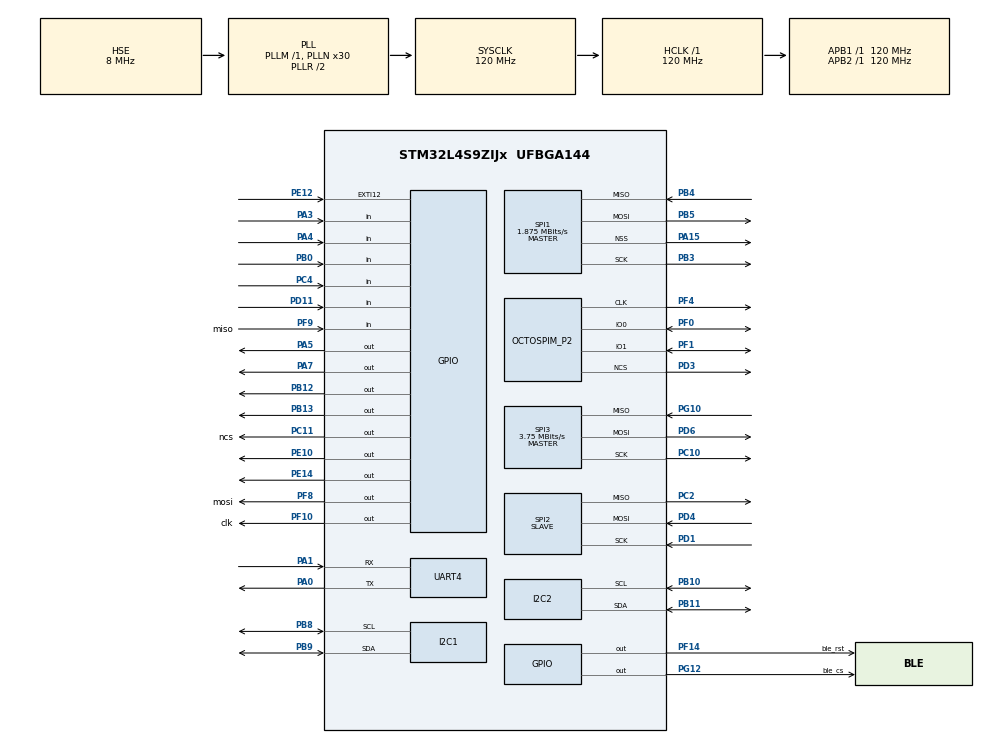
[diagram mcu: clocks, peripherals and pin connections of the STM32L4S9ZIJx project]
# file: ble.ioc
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DSIHOST.BTA_FlowControl=__NULL
DSIHOST.HorizontalBackPorch=252
DSIHOST.HorizontalLine=836
DSIHOST.HorizontalSyncActive=252
DSIHOST.LPCommandEnable=DSI_LP_COMMAND_ENABLE
DSIHOST.LPHorizontalBackPorchEnable=DSI_LP_HBP_ENABLE
DSIHOST.LPHorizontalFrontPorchEnable=DSI_LP_HFP_ENABLE
DSIHOST.LPLargestPacketSize=28
DSIHOST.LPVACTLargestPacketSize=80
DSIHOST.LPVerticalActiveEnable=DSI_LP_VACT_ENABLE
DSIHOST.LPVerticalBackPorchEnable=DSI_LP_VBP_ENABLE
DSIHOST.LPVerticalFrontPorchEnable=DSI_LP_VFP_ENABLE
DSIHOST.LPVerticalSyncActiveEnable=DSI_LP_VSYNC_ENABLE
DSIHOST.Mode=DSI_VID_MODE_NB_EVENTS
DSIHOST.PacketSize=80
DSIHOST.VerticalActive=80
DSIHOST.VerticalBackPorch=8
DSIHOST.VerticalFrontPorch=8
DSIHOST.VerticalSyncActive=8
DSIHOST_CKN.Mode=DSIHost_Video
DSIHOST_CKN.Signal=DSIHOST_CKN
DSIHOST_CKP.Mode=DSIHost_Video
DSIHOST_CKP.Signal=DSIHOST_CKP
DSIHOST_D0N.Mode=DSIHost_Video
DSIHOST_D0N.Signal=DSIHOST_D0N
DSIHOST_D0P.Mode=DSIHost_Video
DSIHOST_D0P.Signal=DSIHOST_D0P
DSIHOST_D1N.Mode=DSIHost_Video
DSIHOST_D1N.Signal=DSIHOST_D1N
DSIHOST_D1P.Mode=DSIHost_Video
DSIHOST_D1P.Signal=DSIHOST_D1P
I2C1.Timing=0x307075B1
I2C2.Timing=0x307075B1
LTDC.ActiveH=80
LTDC.ActiveW=80
LTDC.Alpha_L0=255
LTDC.Blue=255
LTDC.Blue_L0=255
LTDC.FBStartAdress_L0=(uint32_t *)image_80x80_rgb888
LTDC.Green=255
LTDC.Green_L0=255
LTDC.HBP=252
LTDC.HFP=252
LTDC.HSPolarity=LTDC_HSPOLARITY_AH
LTDC.HSync=252
LTDC.ImageHeight_L0=80
LTDC.ImageWidth_L0=80
LTDC.Layers=0
LTDC.PixelFormat_L0=LTDC_PIXEL_FORMAT_RGB888
LTDC.Red=255
LTDC.Red_L0=255
LTDC.VBP=8
LTDC.VSPolarity=LTDC_VSPOLARITY_AH
LTDC.VSync=8
LTDC.WindowX1_L0=80
LTDC.WindowY1_L0=80
Mcu.Family=STM32L4
Mcu.Name=STM32L4S9ZIJx
Mcu.Package=UFBGA144
NVIC.EXTI15_10_IRQn=true\:3\:0\:true\:false\:true\:true\:true\:true
NVIC.PriorityGroup=NVIC_PRIORITYGROUP_4
OCTOSPI2.ClockPrescaler=32
OCTOSPI2.MemoryType=HAL_OSPI_MEMTYPE_MACRONIX
PA0.Mode=Asynchronous
PA0.Signal=UART4_TX
PA1.Mode=Asynchronous
PA1.Signal=UART4_RX
PA15\ (JTDI).Mode=NSS_Signal_Hard_Output
PA15\ (JTDI).Signal=SPI1_NSS
PA3.Signal=GPIO_Input
PA4.Signal=GPIO_Input
PA5.Signal=GPIO_Output
PA7.Signal=GPIO_Output
PB0.Signal=GPIO_Input
PB10.Mode=I2C
PB10.Signal=I2C2_SCL
PB11.Mode=I2C
PB11.Signal=I2C2_SDA
PB12.Signal=GPIO_Output
PB13.Signal=GPIO_Output
PB3\ (JTDO/TRACESWO).Mode=Full_Duplex_Master
PB3\ (JTDO/TRACESWO).Signal=SPI1_SCK
PB4\ (NJTRST).Mode=Full_Duplex_Master
PB4\ (NJTRST).Signal=SPI1_MISO
PB5.Mode=Full_Duplex_Master
PB5.Signal=SPI1_MOSI
PB8.Mode=I2C
PB8.Signal=I2C1_SCL
PB9.Mode=I2C
PB9.Signal=I2C1_SDA
PC10.Mode=Full_Duplex_Master
PC10.Signal=SPI3_SCK
PC11.GPIO_Label=ncs
PC11.GPIO_Speed=GPIO_SPEED_FREQ_VERY_HIGH
PC11.PinState=GPIO_PIN_SET
PC11.Signal=GPIO_Output
PC2.Mode=Full_Duplex_Slave
PC2.Signal=SPI2_MISO
PC4.Signal=GPIO_Input
PD1.Mode=Full_Duplex_Slave
PD1.Signal=SPI2_SCK
PD11.Signal=GPIO_Input
PD3.Mode=OCTOSPI2_Port2_NCS
PD3.Signal=OCTOSPIM_P2_NCS
PD4.Mode=Full_Duplex_Slave
PD4.Signal=SPI2_MOSI
PD6.Mode=Full_Duplex_Master
PD6.Signal=SPI3_MOSI
PE10.Signal=GPIO_Output
PE12.GPIO_ModeDefaultEXTI=GPIO_MODE_IT_RISING
PE12.GPIO_PuPd=GPIO_PULLDOWN
PE12.Signal=GPXTI12
PE14.GPIO_ModeDefaultOutputPP=GPIO_MODE_OUTPUT_PP
PE14.GPIO_PuPd=GPIO_PULLUP
PE14.GPIO_Speed=GPIO_SPEED_FREQ_VERY_HIGH
PE14.PinState=GPIO_PIN_SET
PE14.Signal=GPIO_Output
PF0.Mode=OCTOSPI2_IOL_Port2L_10
PF0.Signal=OCTOSPIM_P2_IO0
PF1.Mode=OCTOSPI2_IOL_Port2L_10
PF1.Signal=OCTOSPIM_P2_IO1
PF10.GPIO_Label=clk
PF10.GPIO_Speed=GPIO_SPEED_FREQ_VERY_HIGH
PF10.Signal=GPIO_Output
PF14.GPIO_Label=ble_rst
PF14.GPIO_ModeDefaultOutputPP=GPIO_MODE_OUTPUT_PP
PF14.GPIO_PuPd=GPIO_NOPULL
PF14.GPIO_Speed=GPIO_SPEED_FREQ_VERY_HIGH
PF14.Signal=GPIO_Output
PF4.Mode=O2_P2_CLK
PF4.Signal=OCTOSPIM_P2_CLK
PF8.GPIO_Label=mosi
PF8.GPIO_Speed=GPIO_SPEED_FREQ_VERY_HIGH
PF8.Signal=GPIO_Output
PF9.GPIO_Label=miso
PF9.Signal=GPIO_Input
PG10.Mode=Full_Duplex_Master
PG10.Signal=SPI3_MISO
PG12.GPIO_Label=ble_cs
PG12.GPIO_Speed=GPIO_SPEED_FREQ_VERY_HIGH
PG12.PinState=GPIO_PIN_SET
PG12.Signal=GPIO_Output
PH0-OSC_IN\ (PH0).Mode=HSE-External-Oscillator
PH0-OSC_IN\ (PH0).Signal=RCC_OSC_IN
PH1-OSC_OUT\ (PH1).Mode=HSE-External-Oscillator
PH1-OSC_OUT\ (PH1).Signal=RCC_OSC_OUT
ProjectManager.HeapSize=0x200
ProjectManager.StackSize=0x400
ProjectManager.TargetToolchain=STM32CubeIDE
RCC.ADCFreq_Value=32000000
RCC.AHBFreq_Value=120000000
RCC.APB1Freq_Value=120000000
RCC.APB1TimFreq_Value=120000000
RCC.APB2Freq_Value=120000000
RCC.APB2TimFreq_Value=120000000
RCC.CortexFreq_Value=120000000
RCC.DSITX_Div=2
RCC.HCLKFreq_Value=120000000
RCC.HSE_VALUE=8000000
RCC.HSI48_VALUE=48000000
RCC.HSI_VALUE=16000000
RCC.LSE_VALUE=32768
RCC.MSI_VALUE=4000000
RCC.PLLDSINDIV=50
RCC.PLLDSIODF=DSI_PLL_OUT_DIV2
RCC.PLLN=30
RCC.PLLSourceVirtual=RCC_PLLSOURCE_HSE
RCC.PREFETCH_ENABLE=1
RCC.SYSCLKFreq_VALUE=120000000
RCC.SYSCLKSource=RCC_SYSCLKSOURCE_PLLCLK
RCC.USBFreq_Value=32000000
RCC.VCOOutputFreq_Value=240000000
SPI1.BaudRatePrescaler=SPI_BAUDRATEPRESCALER_64
SPI1.CLKPolarity=SPI_POLARITY_LOW
SPI1.CalculateBaudRate=1.875 MBits/s
SPI1.DataSize=SPI_DATASIZE_8BIT
SPI1.Direction=SPI_DIRECTION_2LINES
SPI1.Mode=SPI_MODE_MASTER
SPI1.VirtualNSS=VM_NSSHARD
SPI1.VirtualType=VM_MASTER
SPI2.DataSize=SPI_DATASIZE_8BIT
SPI2.Direction=SPI_DIRECTION_2LINES
SPI2.Mode=SPI_MODE_SLAVE
SPI2.VirtualType=VM_SLAVE
SPI3.BaudRatePrescaler=SPI_BAUDRATEPRESCALER_32
SPI3.CalculateBaudRate=3.75 MBits/s
SPI3.DataSize=SPI_DATASIZE_8BIT
SPI3.Direction=SPI_DIRECTION_2LINES
SPI3.Mode=SPI_MODE_MASTER
SPI3.VirtualType=VM_MASTER
VP_LTDC_DSIMode.Mode=RGB888
VP_OCTOSPI2_VS_dual.Mode=single_mode
board=custom

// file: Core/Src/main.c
/* USER CODE BEGIN Header */
/**
 ******************************************************************************
 * @file           : main.c
 * @brief          : Main program body
 ******************************************************************************
 * @attention
 *
 * Copyright (c) 2023 STMicroelectronics.
 * All rights reserved.
 *
 * This software is licensed under terms that can be found in the LICENSE file
 * in the root directory of this software component.
 * If no LICENSE file comes with this software, it is provided AS-IS.
 *
 ******************************************************************************
 */
/* USER CODE END Header */
#include "main.h"

DSI_HandleTypeDef hdsi;

I2C_HandleTypeDef hi2c1;
I2C_HandleTypeDef hi2c2;

LTDC_HandleTypeDef hltdc;

OSPI_HandleTypeDef hospi2;

SPI_HandleTypeDef hspi1;
SPI_HandleTypeDef hspi2;
SPI_HandleTypeDef hspi3;

UART_HandleTypeDef huart4;

/* USER CODE BEGIN PV */
#define HARDWARE_VER "1.0.0"
void QSPI_WriteByte(uint8_t data);
uint8_t QSPI_ReadByte(void);
#define QSPI_CLK_PIN       GPIO_PIN_10
#define QSPI_CLK_PORT      GPIOF

#define QSPI_CS_PIN        GPIO_PIN_11
#define QSPI_CS_PORT       GPIOC

#define QSPI_MISO_PIN      GPIO_PIN_9
#define QSPI_MISO_PORT     GPIOF

#define QSPI_MOSI_PIN      GPIO_PIN_8
#define QSPI_MOSI_PORT     GPIOF

uint8_t BOARD_NUMBER = 1;
uint8_t spi3_buf[2] = {0};
uint32_t frame_rate=1000; //delay time (ms)
uint8_t frame_buf_tmp[6400]={0};
uint8_t frame_buf_0[6400]={0};
uint8_t frame_buf_1[6400]={0};
uint8_t play_mode=0;  //0=Static display, 1=Dynamic display
uint8_t static_flag=0;  //0=buffer_0, 1=buffer_1
uint8_t image_80x80_rgb888[19200];

#define BUFFER_SIZE  8192
uint8_t aRxBuffer[BUFFER_SIZE] = { 0 };

/* USER CODE END PV */

void SystemClock_Config(void);
static void MX_GPIO_Init(void);
static void MX_I2C1_Init(void);
static void MX_I2C2_Init(void);
static void MX_OCTOSPI2_Init(void);
static void MX_SPI1_Init(void);
static void MX_SPI2_Init(void);
static void MX_UART4_Init(void);
static void MX_DSIHOST_DSI_Init(void);
static void MX_LTDC_Init(void);
static void MX_SPI3_Init(void);
/* USER CODE BEGIN PFP */
static void mipi_config(void);
void delay_us(int time);
void Wrap(uint8_t *str1, int16_t count);
/* USER CODE END PFP */

int main(void)
{

  /* MCU Configuration--------------------------------------------------------*/

  /* Reset of all peripherals, Initializes the Flash interface and the Systick. */
  HAL_Init();

  /* Configure the system clock */
  SystemClock_Config();

  /* Initialize all configured peripherals */
  MX_GPIO_Init();
  MX_I2C1_Init();
  MX_I2C2_Init();
  MX_OCTOSPI2_Init();
  MX_SPI1_Init();
  MX_SPI2_Init();
  MX_UART4_Init();
  MX_DSIHOST_DSI_Init();
  MX_LTDC_Init();
  MX_SPI3_Init();
  /* USER CODE BEGIN 2 */
  mipi_config();
  HAL_UART_Transmit(&huart4, "ble start", 9, 1000);
  /* USER CODE END 2 */

  /* Infinite loop */
  /* USER CODE BEGIN WHILE */
  int frame_buf_count = 0;
  	  HAL_GPIO_WritePin(GPIOF, GPIO_PIN_14, GPIO_PIN_SET);
  	  HAL_GPIO_WritePin(GPIOF, GPIO_PIN_14, GPIO_PIN_RESET);
  	  HAL_Delay(10);
  	  HAL_GPIO_WritePin(GPIOF, GPIO_PIN_14, GPIO_PIN_SET);
  	__HAL_SPI_ENABLE(&hspi1);
	__HAL_SPI_ENABLE(&hspi3);

	uint8_t  BLE_status[20], BAUD_1[20], BAUD_2[20], NAME_1[20], NAME_2[20], led[20], TXTX[20];
	sprintf(BAUD_1,"%c%c%c%c%s",0x10,0x00,0x0A,0x8C,"AT+BAUDRATE="); //Bit 7 of payload size is also set
	sprintf(BAUD_2,"%c%c%c%c%s",0x10,0x00,0x0A,0x06,"115200");
	sprintf(NAME_1,"%c%c%c%c%s",0x10,0x00,0x0A,0x8E,"AT+GAPDEVNAME="); //Bit 7 of payload size is also set
	sprintf(NAME_2,"%c%c%c%c%s",0x10,0x00,0x0A,0x08,"LED Demo");
	sprintf(led,"%c%c%c%c%s",0x10,0x00,0x0A,0x0E,"AT+HWMODELED=0"); //Default is 1
	//sprintf(TXTX,"%c%c%c%c%s",0x10,0x01,0x0A,0x0E,"aaaaaaaaaaaaaa"); //TX
	sprintf(TXTX,"%c%c%c%c%s",0x10,0x01,0x0A,0x03,"123"); //TX

	HAL_Delay(3000);

	while (1) {
    /* USER CODE END WHILE */

    /* USER CODE BEGIN 3 */
		HAL_Delay(5);
		Wrap(&BAUD_1, sizeof BAUD_1);
		HAL_Delay(5);
		Wrap(&BAUD_2, sizeof BAUD_2);
		HAL_Delay(5);
		Wrap(&NAME_1, sizeof NAME_1);
		HAL_Delay(5);
		Wrap(&NAME_2, sizeof NAME_2);
		HAL_Delay(5);
		Wrap(&led, sizeof led);

		while(1)
		{
			HAL_Delay(1000);
			WriteBLE(&TXTX, sizeof TXTX);
			HAL_Delay(1000);
			ReadBLE();
		}
	}
  /* USER CODE END 3 */
}

void SystemClock_Config(void)
{
  RCC_OscInitTypeDef RCC_OscInitStruct = {0};
  RCC_ClkInitTypeDef RCC_ClkInitStruct = {0};

  /** Configure the main internal regulator output voltage
  */
  if (HAL_PWREx_ControlVoltageScaling(PWR_REGULATOR_VOLTAGE_SCALE1_BOOST) != HAL_OK)
  {
    Error_Handler();
  }

  /** Initializes the RCC Oscillators according to the specified parameters
  * in the RCC_OscInitTypeDef structure.
  */
  RCC_OscInitStruct.OscillatorType = RCC_OSCILLATORTYPE_HSE;
  RCC_OscInitStruct.HSEState = RCC_HSE_ON;
  RCC_OscInitStruct.PLL.PLLState = RCC_PLL_ON;
  RCC_OscInitStruct.PLL.PLLSource = RCC_PLLSOURCE_HSE;
  RCC_OscInitStruct.PLL.PLLM = 1;
  RCC_OscInitStruct.PLL.PLLN = 30;
  RCC_OscInitStruct.PLL.PLLP = RCC_PLLP_DIV2;
  RCC_OscInitStruct.PLL.PLLQ = RCC_PLLQ_DIV2;
  RCC_OscInitStruct.PLL.PLLR = RCC_PLLR_DIV2;
  if (HAL_RCC_OscConfig(&RCC_OscInitStruct) != HAL_OK)
  {
    Error_Handler();
  }

  /** Initializes the CPU, AHB and APB buses clocks
  */
  RCC_ClkInitStruct.ClockType = RCC_CLOCKTYPE_HCLK|RCC_CLOCKTYPE_SYSCLK
                              |RCC_CLOCKTYPE_PCLK1|RCC_CLOCKTYPE_PCLK2;
  RCC_ClkInitStruct.SYSCLKSource = RCC_SYSCLKSOURCE_PLLCLK;
  RCC_ClkInitStruct.AHBCLKDivider = RCC_SYSCLK_DIV1;
  RCC_ClkInitStruct.APB1CLKDivider = RCC_HCLK_DIV1;
  RCC_ClkInitStruct.APB2CLKDivider = RCC_HCLK_DIV1;

  if (HAL_RCC_ClockConfig(&RCC_ClkInitStruct, FLASH_LATENCY_5) != HAL_OK)
  {
    Error_Handler();
  }
}

static void MX_DSIHOST_DSI_Init(void)
{

  DSI_PLLInitTypeDef PLLInit = {0};
  DSI_HOST_TimeoutTypeDef HostTimeouts = {0};
  DSI_PHY_TimerTypeDef PhyTimings = {0};
  DSI_VidCfgTypeDef VidCfg = {0};

  hdsi.Instance = DSI;
  hdsi.Init.AutomaticClockLaneControl = DSI_AUTO_CLK_LANE_CTRL_DISABLE;
  hdsi.Init.TXEscapeCkdiv = 2;
  hdsi.Init.NumberOfLanes = DSI_ONE_DATA_LANE;
  PLLInit.PLLNDIV = 50;
  PLLInit.PLLIDF = DSI_PLL_IN_DIV1;
  PLLInit.PLLODF = DSI_PLL_OUT_DIV2;
  if (HAL_DSI_Init(&hdsi, &PLLInit) != HAL_OK)
  {
    Error_Handler();
  }
  HostTimeouts.TimeoutCkdiv = 1;
  HostTimeouts.HighSpeedTransmissionTimeout = 0;
  HostTimeouts.LowPowerReceptionTimeout = 0;
  HostTimeouts.HighSpeedReadTimeout = 0;
  HostTimeouts.LowPowerReadTimeout = 0;
  HostTimeouts.HighSpeedWriteTimeout = 0;
  HostTimeouts.HighSpeedWritePrespMode = DSI_HS_PM_DISABLE;
  HostTimeouts.LowPowerWriteTimeout = 0;
  HostTimeouts.BTATimeout = 0;
  if (HAL_DSI_ConfigHostTimeouts(&hdsi, &HostTimeouts) != HAL_OK)
  {
    Error_Handler();
  }
  PhyTimings.ClockLaneHS2LPTime = 19;
  PhyTimings.ClockLaneLP2HSTime = 15;
  PhyTimings.DataLaneHS2LPTime = 9;
  PhyTimings.DataLaneLP2HSTime = 10;
  PhyTimings.DataLaneMaxReadTime = 0;
  PhyTimings.StopWaitTime = 0;
  if (HAL_DSI_ConfigPhyTimer(&hdsi, &PhyTimings) != HAL_OK)
  {
    Error_Handler();
  }
  if (HAL_DSI_SetLowPowerRXFilter(&hdsi, 10000) != HAL_OK)
  {
    Error_Handler();
  }
  if (HAL_DSI_ConfigErrorMonitor(&hdsi, HAL_DSI_ERROR_NONE) != HAL_OK)
  {
    Error_Handler();
  }
  VidCfg.VirtualChannelID = 0;
  VidCfg.ColorCoding = DSI_RGB888;
  VidCfg.LooselyPacked = DSI_LOOSELY_PACKED_DISABLE;
  VidCfg.Mode = DSI_VID_MODE_NB_EVENTS;
  VidCfg.PacketSize = 80;
  VidCfg.NumberOfChunks = 1;
  VidCfg.NullPacketSize = 0;
  VidCfg.HSPolarity = DSI_HSYNC_ACTIVE_HIGH;
  VidCfg.VSPolarity = DSI_VSYNC_ACTIVE_HIGH;
  VidCfg.DEPolarity = DSI_DATA_ENABLE_ACTIVE_HIGH;
  VidCfg.HorizontalSyncActive = 252;
  VidCfg.HorizontalBackPorch = 252;
  VidCfg.HorizontalLine = 836;
  VidCfg.VerticalSyncActive = 8;
  VidCfg.VerticalBackPorch = 8;
  VidCfg.VerticalFrontPorch = 8;
  VidCfg.VerticalActive = 80;
  VidCfg.LPCommandEnable = DSI_LP_COMMAND_ENABLE;
  VidCfg.LPLargestPacketSize = 28;
  VidCfg.LPVACTLargestPacketSize = 80;
  VidCfg.LPHorizontalFrontPorchEnable = DSI_LP_HFP_ENABLE;
  VidCfg.LPHorizontalBackPorchEnable = DSI_LP_HBP_ENABLE;
  VidCfg.LPVerticalActiveEnable = DSI_LP_VACT_ENABLE;
  VidCfg.LPVerticalFrontPorchEnable = DSI_LP_VFP_ENABLE;
  VidCfg.LPVerticalBackPorchEnable = DSI_LP_VBP_ENABLE;
  VidCfg.LPVerticalSyncActiveEnable = DSI_LP_VSYNC_ENABLE;
  VidCfg.FrameBTAAcknowledgeEnable = DSI_FBTAA_DISABLE;
  if (HAL_DSI_ConfigVideoMode(&hdsi, &VidCfg) != HAL_OK)
  {
    Error_Handler();
  }
  if (HAL_DSI_SetGenericVCID(&hdsi, 0) != HAL_OK)
  {
    Error_Handler();
  }

}

static void MX_I2C1_Init(void)
{

  hi2c1.Instance = I2C1;
  hi2c1.Init.Timing = 0x307075B1;
  hi2c1.Init.OwnAddress1 = 0;
  hi2c1.Init.AddressingMode = I2C_ADDRESSINGMODE_7BIT;
  hi2c1.Init.DualAddressMode = I2C_DUALADDRESS_DISABLE;
  hi2c1.Init.OwnAddress2 = 0;
  hi2c1.Init.OwnAddress2Masks = I2C_OA2_NOMASK;
  hi2c1.Init.GeneralCallMode = I2C_GENERALCALL_DISABLE;
  hi2c1.Init.NoStretchMode = I2C_NOSTRETCH_DISABLE;
  if (HAL_I2C_Init(&hi2c1) != HAL_OK)
  {
    Error_Handler();
  }

  /** Configure Analogue filter
  */
  if (HAL_I2CEx_ConfigAnalogFilter(&hi2c1, I2C_ANALOGFILTER_ENABLE) != HAL_OK)
  {
    Error_Handler();
  }

  /** Configure Digital filter
  */
  if (HAL_I2CEx_ConfigDigitalFilter(&hi2c1, 0) != HAL_OK)
  {
    Error_Handler();
  }

}

static void MX_I2C2_Init(void)
{

  hi2c2.Instance = I2C2;
  hi2c2.Init.Timing = 0x307075B1;
  hi2c2.Init.OwnAddress1 = 0;
  hi2c2.Init.AddressingMode = I2C_ADDRESSINGMODE_7BIT;
  hi2c2.Init.DualAddressMode = I2C_DUALADDRESS_DISABLE;
  hi2c2.Init.OwnAddress2 = 0;
  hi2c2.Init.OwnAddress2Masks = I2C_OA2_NOMASK;
  hi2c2.Init.GeneralCallMode = I2C_GENERALCALL_DISABLE;
  hi2c2.Init.NoStretchMode = I2C_NOSTRETCH_DISABLE;
  if (HAL_I2C_Init(&hi2c2) != HAL_OK)
  {
    Error_Handler();
  }

  /** Configure Analogue filter
  */
  if (HAL_I2CEx_ConfigAnalogFilter(&hi2c2, I2C_ANALOGFILTER_ENABLE) != HAL_OK)
  {
    Error_Handler();
  }

  /** Configure Digital filter
  */
  if (HAL_I2CEx_ConfigDigitalFilter(&hi2c2, 0) != HAL_OK)
  {
    Error_Handler();
  }

}

static void MX_LTDC_Init(void)
{

  LTDC_LayerCfgTypeDef pLayerCfg = {0};

  hltdc.Instance = LTDC;
  hltdc.Init.HSPolarity = LTDC_HSPOLARITY_AH;
  hltdc.Init.VSPolarity = LTDC_VSPOLARITY_AH;
  hltdc.Init.DEPolarity = LTDC_DEPOLARITY_AL;
  hltdc.Init.PCPolarity = LTDC_PCPOLARITY_IPC;
  hltdc.Init.HorizontalSync = 251;
  hltdc.Init.VerticalSync = 7;
  hltdc.Init.AccumulatedHBP = 503;
  hltdc.Init.AccumulatedVBP = 15;
  hltdc.Init.AccumulatedActiveW = 583;
  hltdc.Init.AccumulatedActiveH = 95;
  hltdc.Init.TotalWidth = 835;
  hltdc.Init.TotalHeigh = 97;
  hltdc.Init.Backcolor.Blue = 255;
  hltdc.Init.Backcolor.Green = 255;
  hltdc.Init.Backcolor.Red = 255;
  if (HAL_LTDC_Init(&hltdc) != HAL_OK)
  {
    Error_Handler();
  }
  pLayerCfg.WindowX0 = 0;
  pLayerCfg.WindowX1 = 80;
  pLayerCfg.WindowY0 = 0;
  pLayerCfg.WindowY1 = 80;
  pLayerCfg.PixelFormat = LTDC_PIXEL_FORMAT_RGB888;
  pLayerCfg.Alpha = 255;
  pLayerCfg.Alpha0 = 0;
  pLayerCfg.BlendingFactor1 = LTDC_BLENDING_FACTOR1_CA;
  pLayerCfg.BlendingFactor2 = LTDC_BLENDING_FACTOR2_CA;
  pLayerCfg.FBStartAdress = (uint32_t *)image_80x80_rgb888;
  pLayerCfg.ImageWidth = 80;
  pLayerCfg.ImageHeight = 80;
  pLayerCfg.Backcolor.Blue = 255;
  pLayerCfg.Backcolor.Green = 255;
  pLayerCfg.Backcolor.Red = 255;
  if (HAL_LTDC_ConfigLayer(&hltdc, &pLayerCfg, 0) != HAL_OK)
  {
    Error_Handler();
  }
  /* USER CODE BEGIN LTDC_Init 2 */
  //(uint32_t *)image_80x80_rgb888;
  /* USER CODE END LTDC_Init 2 */

}

static void MX_OCTOSPI2_Init(void)
{

  OSPIM_CfgTypeDef OSPIM_Cfg_Struct = {0};

  /* OCTOSPI2 parameter configuration*/
  hospi2.Instance = OCTOSPI2;
  hospi2.Init.FifoThreshold = 1;
  hospi2.Init.DualQuad = HAL_OSPI_DUALQUAD_DISABLE;
  hospi2.Init.MemoryType = HAL_OSPI_MEMTYPE_MACRONIX;
  hospi2.Init.DeviceSize = 32;
  hospi2.Init.ChipSelectHighTime = 1;
  hospi2.Init.FreeRunningClock = HAL_OSPI_FREERUNCLK_DISABLE;
  hospi2.Init.ClockMode = HAL_OSPI_CLOCK_MODE_0;
  hospi2.Init.ClockPrescaler = 32;
  hospi2.Init.SampleShifting = HAL_OSPI_SAMPLE_SHIFTING_NONE;
  hospi2.Init.DelayHoldQuarterCycle = HAL_OSPI_DHQC_DISABLE;
  hospi2.Init.ChipSelectBoundary = 0;
  hospi2.Init.DelayBlockBypass = HAL_OSPI_DELAY_BLOCK_BYPASSED;
  if (HAL_OSPI_Init(&hospi2) != HAL_OK)
  {
    Error_Handler();
  }
  OSPIM_Cfg_Struct.ClkPort = 2;
  OSPIM_Cfg_Struct.NCSPort = 2;
  OSPIM_Cfg_Struct.IOLowPort = HAL_OSPIM_IOPORT_2_LOW;
  if (HAL_OSPIM_Config(&hospi2, &OSPIM_Cfg_Struct, HAL_OSPI_TIMEOUT_DEFAULT_VALUE) != HAL_OK)
  {
    Error_Handler();
  }

}

static void MX_SPI1_Init(void)
{

  /* SPI1 parameter configuration*/
  hspi1.Instance = SPI1;
  hspi1.Init.Mode = SPI_MODE_MASTER;
  hspi1.Init.Direction = SPI_DIRECTION_2LINES;
  hspi1.Init.DataSize = SPI_DATASIZE_8BIT;
  hspi1.Init.CLKPolarity = SPI_POLARITY_LOW;
  hspi1.Init.CLKPhase = SPI_PHASE_1EDGE;
  hspi1.Init.NSS = SPI_NSS_HARD_OUTPUT;
  hspi1.Init.BaudRatePrescaler = SPI_BAUDRATEPRESCALER_64;
  hspi1.Init.FirstBit = SPI_FIRSTBIT_MSB;
  hspi1.Init.TIMode = SPI_TIMODE_DISABLE;
  hspi1.Init.CRCCalculation = SPI_CRCCALCULATION_DISABLE;
  hspi1.Init.CRCPolynomial = 7;
  hspi1.Init.CRCLength = SPI_CRC_LENGTH_DATASIZE;
  hspi1.Init.NSSPMode = SPI_NSS_PULSE_ENABLE;
  if (HAL_SPI_Init(&hspi1) != HAL_OK)
  {
    Error_Handler();
  }

}

static void MX_SPI2_Init(void)
{

  /* SPI2 parameter configuration*/
  hspi2.Instance = SPI2;
  hspi2.Init.Mode = SPI_MODE_SLAVE;
  hspi2.Init.Direction = SPI_DIRECTION_2LINES;
  hspi2.Init.DataSize = SPI_DATASIZE_8BIT;
  hspi2.Init.CLKPolarity = SPI_POLARITY_LOW;
  hspi2.Init.CLKPhase = SPI_PHASE_1EDGE;
  hspi2.Init.NSS = SPI_NSS_SOFT;
  hspi2.Init.FirstBit = SPI_FIRSTBIT_MSB;
  hspi2.Init.TIMode = SPI_TIMODE_DISABLE;
  hspi2.Init.CRCCalculation = SPI_CRCCALCULATION_DISABLE;
  hspi2.Init.CRCPolynomial = 7;
  hspi2.Init.CRCLength = SPI_CRC_LENGTH_DATASIZE;
  hspi2.Init.NSSPMode = SPI_NSS_PULSE_DISABLE;
  if (HAL_SPI_Init(&hspi2) != HAL_OK)
  {
    Error_Handler();
  }

}

static void MX_SPI3_Init(void)
{

  /* SPI3 parameter configuration*/
  hspi3.Instance = SPI3;
  hspi3.Init.Mode = SPI_MODE_MASTER;
  hspi3.Init.Direction = SPI_DIRECTION_2LINES;
  hspi3.Init.DataSize = SPI_DATASIZE_8BIT;
  hspi3.Init.CLKPolarity = SPI_POLARITY_LOW;
  hspi3.Init.CLKPhase = SPI_PHASE_1EDGE;
  hspi3.Init.NSS = SPI_NSS_SOFT;
  hspi3.Init.BaudRatePrescaler = SPI_BAUDRATEPRESCALER_32;
  hspi3.Init.FirstBit = SPI_FIRSTBIT_MSB;
  hspi3.Init.TIMode = SPI_TIMODE_DISABLE;
  hspi3.Init.CRCCalculation = SPI_CRCCALCULATION_DISABLE;
  hspi3.Init.CRCPolynomial = 7;
  hspi3.Init.CRCLength = SPI_CRC_LENGTH_DATASIZE;
  hspi3.Init.NSSPMode = SPI_NSS_PULSE_ENABLE;
  if (HAL_SPI_Init(&hspi3) != HAL_OK)
  {
    Error_Handler();
  }

}

static void MX_UART4_Init(void)
{

  huart4.Instance = UART4;
  huart4.Init.BaudRate = 115200;
  huart4.Init.WordLength = UART_WORDLENGTH_8B;
  huart4.Init.StopBits = UART_STOPBITS_1;
  huart4.Init.Parity = UART_PARITY_NONE;
  huart4.Init.Mode = UART_MODE_TX_RX;
  huart4.Init.HwFlowCtl = UART_HWCONTROL_NONE;
  huart4.Init.OverSampling = UART_OVERSAMPLING_16;
  huart4.Init.OneBitSampling = UART_ONE_BIT_SAMPLE_DISABLE;
  huart4.Init.ClockPrescaler = UART_PRESCALER_DIV1;
  huart4.AdvancedInit.AdvFeatureInit = UART_ADVFEATURE_NO_INIT;
  if (HAL_UART_Init(&huart4) != HAL_OK)
  {
    Error_Handler();
  }
  if (HAL_UARTEx_SetTxFifoThreshold(&huart4, UART_TXFIFO_THRESHOLD_1_8) != HAL_OK)
  {
    Error_Handler();
  }
  if (HAL_UARTEx_SetRxFifoThreshold(&huart4, UART_RXFIFO_THRESHOLD_1_8) != HAL_OK)
  {
    Error_Handler();
  }
  if (HAL_UARTEx_DisableFifoMode(&huart4) != HAL_OK)
  {
    Error_Handler();
  }

}

static void MX_GPIO_Init(void)
{
  GPIO_InitTypeDef GPIO_InitStruct = {0};

  /* GPIO Ports Clock Enable */
  __HAL_RCC_GPIOB_CLK_ENABLE();
  __HAL_RCC_GPIOD_CLK_ENABLE();
  __HAL_RCC_GPIOC_CLK_ENABLE();
  __HAL_RCC_GPIOA_CLK_ENABLE();
  __HAL_RCC_GPIOG_CLK_ENABLE();
  HAL_PWREx_EnableVddIO2();
  __HAL_RCC_GPIOF_CLK_ENABLE();
  __HAL_RCC_GPIOH_CLK_ENABLE();
  __HAL_RCC_GPIOE_CLK_ENABLE();

  /*Configure GPIO pin Output Level */
  HAL_GPIO_WritePin(ncs_GPIO_Port, ncs_Pin, GPIO_PIN_SET);

  /*Configure GPIO pin Output Level */
  HAL_GPIO_WritePin(ble_cs_GPIO_Port, ble_cs_Pin, GPIO_PIN_SET);

  /*Configure GPIO pin Output Level */
  HAL_GPIO_WritePin(GPIOF, mosi_Pin|clk_Pin|ble_rst_Pin, GPIO_PIN_RESET);

  /*Configure GPIO pin Output Level */
  HAL_GPIO_WritePin(GPIOA, GPIO_PIN_5|GPIO_PIN_7, GPIO_PIN_RESET);

  /*Configure GPIO pin Output Level */
  HAL_GPIO_WritePin(GPIOE, GPIO_PIN_10, GPIO_PIN_RESET);

  /*Configure GPIO pin Output Level */
  HAL_GPIO_WritePin(GPIOB, GPIO_PIN_12|GPIO_PIN_13, GPIO_PIN_RESET);

  /*Configure GPIO pin Output Level */
  HAL_GPIO_WritePin(GPIOE, GPIO_PIN_14, GPIO_PIN_SET);

  /*Configure GPIO pin : ncs_Pin */
  GPIO_InitStruct.Pin = ncs_Pin;
  GPIO_InitStruct.Mode = GPIO_MODE_OUTPUT_PP;
  GPIO_InitStruct.Pull = GPIO_NOPULL;
  GPIO_InitStruct.Speed = GPIO_SPEED_FREQ_VERY_HIGH;
  HAL_GPIO_Init(ncs_GPIO_Port, &GPIO_InitStruct);

  /*Configure GPIO pin : ble_cs_Pin */
  GPIO_InitStruct.Pin = ble_cs_Pin;
  GPIO_InitStruct.Mode = GPIO_MODE_OUTPUT_PP;
  GPIO_InitStruct.Pull = GPIO_NOPULL;
  GPIO_InitStruct.Speed = GPIO_SPEED_FREQ_VERY_HIGH;
  HAL_GPIO_Init(ble_cs_GPIO_Port, &GPIO_InitStruct);

  /*Configure GPIO pins : mosi_Pin clk_Pin ble_rst_Pin */
  GPIO_InitStruct.Pin = mosi_Pin|clk_Pin|ble_rst_Pin;
  GPIO_InitStruct.Mode = GPIO_MODE_OUTPUT_PP;
  GPIO_InitStruct.Pull = GPIO_NOPULL;
  GPIO_InitStruct.Speed = GPIO_SPEED_FREQ_VERY_HIGH;
  HAL_GPIO_Init(GPIOF, &GPIO_InitStruct);

  /*Configure GPIO pin : miso_Pin */
  GPIO_InitStruct.Pin = miso_Pin;
  GPIO_InitStruct.Mode = GPIO_MODE_INPUT;
  GPIO_InitStruct.Pull = GPIO_NOPULL;
  HAL_GPIO_Init(miso_GPIO_Port, &GPIO_InitStruct);

  /*Configure GPIO pin : PD11 */
  GPIO_InitStruct.Pin = GPIO_PIN_11;
  GPIO_InitStruct.Mode = GPIO_MODE_INPUT;
  GPIO_InitStruct.Pull = GPIO_NOPULL;
  HAL_GPIO_Init(GPIOD, &GPIO_InitStruct);

  /*Configure GPIO pins : PA4 PA3 */
  GPIO_InitStruct.Pin = GPIO_PIN_4|GPIO_PIN_3;
  GPIO_InitStruct.Mode = GPIO_MODE_INPUT;
  GPIO_InitStruct.Pull = GPIO_NOPULL;
  HAL_GPIO_Init(GPIOA, &GPIO_InitStruct);

  /*Configure GPIO pins : PA5 PA7 */
  GPIO_InitStruct.Pin = GPIO_PIN_5|GPIO_PIN_7;
  GPIO_InitStruct.Mode = GPIO_MODE_OUTPUT_PP;
  GPIO_InitStruct.Pull = GPIO_NOPULL;
  GPIO_InitStruct.Speed = GPIO_SPEED_FREQ_LOW;
  HAL_GPIO_Init(GPIOA, &GPIO_InitStruct);

  /*Configure GPIO pin : PC4 */
  GPIO_InitStruct.Pin = GPIO_PIN_4;
  GPIO_InitStruct.Mode = GPIO_MODE_INPUT;
  GPIO_InitStruct.Pull = GPIO_NOPULL;
  HAL_GPIO_Init(GPIOC, &GPIO_InitStruct);

  /*Configure GPIO pin : PE10 */
  GPIO_InitStruct.Pin = GPIO_PIN_10;
  GPIO_InitStruct.Mode = GPIO_MODE_OUTPUT_PP;
  GPIO_InitStruct.Pull = GPIO_NOPULL;
  GPIO_InitStruct.Speed = GPIO_SPEED_FREQ_LOW;
  HAL_GPIO_Init(GPIOE, &GPIO_InitStruct);

  /*Configure GPIO pins : PB12 PB13 */
  GPIO_InitStruct.Pin = GPIO_PIN_12|GPIO_PIN_13;
  GPIO_InitStruct.Mode = GPIO_MODE_OUTPUT_PP;
  GPIO_InitStruct.Pull = GPIO_NOPULL;
  GPIO_InitStruct.Speed = GPIO_SPEED_FREQ_LOW;
  HAL_GPIO_Init(GPIOB, &GPIO_InitStruct);

  /*Configure GPIO pin : PB0 */
  GPIO_InitStruct.Pin = GPIO_PIN_0;
  GPIO_InitStruct.Mode = GPIO_MODE_INPUT;
  GPIO_InitStruct.Pull = GPIO_NOPULL;
  HAL_GPIO_Init(GPIOB, &GPIO_InitStruct);

  /*Configure GPIO pin : PE12 */
  GPIO_InitStruct.Pin = GPIO_PIN_12;
  GPIO_InitStruct.Mode = GPIO_MODE_IT_RISING;
  GPIO_InitStruct.Pull = GPIO_PULLDOWN;
  HAL_GPIO_Init(GPIOE, &GPIO_InitStruct);

  /*Configure GPIO pin : PE14 */
  GPIO_InitStruct.Pin = GPIO_PIN_14;
  GPIO_InitStruct.Mode = GPIO_MODE_OUTPUT_PP;
  GPIO_InitStruct.Pull = GPIO_PULLUP;
  GPIO_InitStruct.Speed = GPIO_SPEED_FREQ_VERY_HIGH;
  HAL_GPIO_Init(GPIOE, &GPIO_InitStruct);

  /* EXTI interrupt init*/
  HAL_NVIC_SetPriority(EXTI15_10_IRQn, 3, 0);
  HAL_NVIC_EnableIRQ(EXTI15_10_IRQn);

}

/* USER CODE BEGIN 4 */
void mipi_config() {
	if (HAL_DSI_Start(&hdsi) != HAL_OK) {
		Error_Handler();
	}
	HAL_DSI_ShortWrite(&hdsi, 0, DSI_DCS_SHORT_PKT_WRITE_P1, 0xF0, 0xC3);
	HAL_DSI_ShortWrite(&hdsi, 0, DSI_DCS_SHORT_PKT_WRITE_P1, 0xF0, 0x96);
	uint8_t cmd3[7] = { 0x00, 0x77, 0x1F, 0x04, 0x2A, 0x80, 0x33 };
	HAL_DSI_LongWrite(&hdsi, 0, DSI_DCS_LONG_PKT_WRITE, 8, 0xE7, cmd3);
	uint8_t cmd4[3] = { 0xC0, 0x68, 0xE0 };
	HAL_DSI_LongWrite(&hdsi, 0, DSI_DCS_LONG_PKT_WRITE, 4, 0xA4, cmd4);
	uint8_t cmd5[4] = { 0x42, 0x05, 0x24, 0x03 };
	HAL_DSI_LongWrite(&hdsi, 0, DSI_DCS_LONG_PKT_WRITE, 5, 0xC3, cmd5);
	uint8_t cmd6[4] = { 0x42, 0x05, 0x24, 0x03 };
	HAL_DSI_LongWrite(&hdsi, 0, DSI_DCS_LONG_PKT_WRITE, 5, 0xC4, cmd6);
	uint8_t cmd7[12] = { 0x0F, 0xF5, 0x10, 0x13, 0x22, 0x25, 0x10, 0x55, 0x55,
			0x55, 0x55, 0x55 };
	HAL_DSI_LongWrite(&hdsi, 0, DSI_DCS_LONG_PKT_WRITE, 13, 0xE5, cmd7);
	uint8_t cmd8[12] = { 0x0F, 0xF5, 0x10, 0x13, 0x22, 0x25, 0x10, 0x55, 0x55,
			0x55, 0x55, 0x55 };
	HAL_DSI_LongWrite(&hdsi, 0, DSI_DCS_LONG_PKT_WRITE, 13, 0xE6, cmd8);
	uint8_t cmd9[7] = { 0x00, 0x55, 0x00, 0x00, 0x00, 0x49, 0x22 };
	HAL_DSI_LongWrite(&hdsi, 0, DSI_DCS_LONG_PKT_WRITE, 8, 0xEC, cmd9);
	uint8_t cmd10[4] = { 0x88, 0x05, 0x0F, 0x18 };
	HAL_DSI_LongWrite(&hdsi, 0, DSI_DCS_LONG_PKT_WRITE, 5, 0xC1, cmd10);
	uint8_t cmd11[4] = { 0x88, 0x05, 0x0F, 0x18 };
	HAL_DSI_LongWrite(&hdsi, 0, DSI_DCS_LONG_PKT_WRITE, 5, 0xC2, cmd11);
	HAL_DSI_ShortWrite(&hdsi, 0, DSI_DCS_SHORT_PKT_WRITE_P1, 0x36, 0x00);
	HAL_DSI_ShortWrite(&hdsi, 0, DSI_DCS_SHORT_PKT_WRITE_P1, 0x3A, 0x07);
	HAL_DSI_ShortWrite(&hdsi, 0, DSI_DCS_SHORT_PKT_WRITE_P1, 0xC5, 0xBE);
	uint8_t cmd15[14] = { 0xC0, 0x01, 0x04, 0x0B, 0x0B, 0x29, 0x41, 0x55, 0x55,
			0x3D, 0x19, 0x18, 0x24, 0x27 };
	HAL_DSI_LongWrite(&hdsi, 0, DSI_DCS_LONG_PKT_WRITE, 15, 0xE0, cmd15);
	uint8_t cmd16[14] = { 0xC0, 0x01, 0x05, 0x0B, 0x0C, 0x29, 0x42, 0x55, 0x56,
			0x3E, 0x1A, 0x18, 0x24, 0x28 };
	HAL_DSI_LongWrite(&hdsi, 0, DSI_DCS_LONG_PKT_WRITE, 15, 0xE1, cmd16);
	HAL_DSI_ShortWrite(&hdsi, 0, DSI_DCS_SHORT_PKT_WRITE_P1, 0xB2, 0x10);
	HAL_DSI_ShortWrite(&hdsi, 0, DSI_DCS_SHORT_PKT_WRITE_P1, 0xB3, 0x01);
	HAL_DSI_ShortWrite(&hdsi, 0, DSI_DCS_SHORT_PKT_WRITE_P1, 0xB4, 0x01);
	uint8_t cmd20[2] = { 0x27, 0x09 };
	HAL_DSI_LongWrite(&hdsi, 0, DSI_DCS_LONG_PKT_WRITE, 3, 0xB6, cmd20);
	uint8_t cmd21[4] = { 0x00, 0x54, 0x00, 0x54 };
	HAL_DSI_LongWrite(&hdsi, 0, DSI_DCS_LONG_PKT_WRITE, 5, 0xB5, cmd21);
	uint8_t cmd22[9] = { 0x20, 0x12, 0x40, 0x00, 0x00, 0x2F, 0x2A, 0x0A, 0x00 };
	HAL_DSI_LongWrite(&hdsi, 0, DSI_DCS_LONG_PKT_WRITE, 10, 0xA5, cmd22);
	uint8_t cmd23[9] = { 0x20, 0x12, 0x40, 0x00, 0x00, 0x2F, 0x2A, 0x0A, 0x00 };
	HAL_DSI_LongWrite(&hdsi, 0, DSI_DCS_LONG_PKT_WRITE, 10, 0xA6, cmd23);
	uint8_t cmd24[7] = { 0x58, 0x0A, 0x21, 0x00, 0x20, 0x01, 0x00 };
	HAL_DSI_LongWrite(&hdsi, 0, DSI_DCS_LONG_PKT_WRITE, 8, 0xBA, cmd24);
	uint8_t cmd25[8] = { 0x00, 0x45, 0x00, 0x1F, 0x15, 0x87, 0x07, 0x04 };
	HAL_DSI_LongWrite(&hdsi, 0, DSI_DCS_LONG_PKT_WRITE, 9, 0xBB, cmd25);
	uint8_t cmd26[8] = { 0x00, 0x45, 0x00, 0x1F, 0x15, 0x87, 0x07, 0x04 };
	HAL_DSI_LongWrite(&hdsi, 0, DSI_DCS_LONG_PKT_WRITE, 9, 0xBC, cmd26);
	uint8_t cmd27[11] = { 0x11, 0x77, 0xFF, 0xFF, 0x25, 0x34, 0x43, 0x52, 0xFF,
			0xFF, 0xF9 };
	HAL_DSI_LongWrite(&hdsi, 0, DSI_DCS_LONG_PKT_WRITE, 12, 0xBD, cmd27);
	HAL_DSI_ShortWrite(&hdsi, 0, DSI_DCS_SHORT_PKT_WRITE_P1, 0xED, 0xC3);
	uint8_t cmd29[3] = { 0x40, 0x0F, 0x00 };
	HAL_DSI_LongWrite(&hdsi, 0, DSI_DCS_LONG_PKT_WRITE, 4, 0xE4, cmd29);
	uint8_t cmd30[9] = { 0x90, 0x00, 0x3F, 0x10, 0x3F, 0x35, 0x7F, 0x7F, 0x25 };
	HAL_DSI_LongWrite(&hdsi, 0, DSI_DCS_LONG_PKT_WRITE, 10, 0xCC, cmd30);
	HAL_DSI_ShortWrite(&hdsi, 0, DSI_DCS_SHORT_PKT_WRITE_P1, 0x35, 0x00);
	HAL_Delay(0);
	HAL_DSI_ShortWrite(&hdsi, 0, DSI_DCS_SHORT_PKT_WRITE_P0, 0x11, 0x00);
	HAL_Delay(120);
	HAL_DSI_ShortWrite(&hdsi, 0, DSI_DCS_SHORT_PKT_WRITE_P0, 0x29, 0x00);
	HAL_Delay(120);
	HAL_DSI_ShortWrite(&hdsi, 0, DSI_DCS_SHORT_PKT_WRITE_P1, 0x35, 0x00);
}

void delay_us(int time)
{
	int i = 0;
	while (time--)
	{
		i = 10;
		while (i--)
			;
	}
}

int button_count=0;
void HAL_GPIO_EXTI_Callback(uint16_t GPIO_Pin)
{
	if(GPIO_Pin==GPIO_PIN_12)
	{
		button_count++;
		HAL_Delay(100);
		for(int i=0; i<200; i++)
		{
			if(HAL_GPIO_ReadPin(GPIOE, GPIO_PIN_12) == GPIO_PIN_RESET)
			{
				if(button_count<50 && play_mode==0)
				{
					if(static_flag==0)
					{
						static_flag = 1;
					}
					else if(static_flag==1)
					{
						static_flag = 0;
					}
				}
				button_count = 0;
				return;
			}
			button_count++;
			HAL_Delay(10);
		}
		if(play_mode==1)
		{
			HAL_GPIO_WritePin(GPIOB, GPIO_PIN_13, GPIO_PIN_RESET);
			play_mode = 0;
		}
		else if(play_mode==0)
		{
			HAL_GPIO_WritePin(GPIOB, GPIO_PIN_13, GPIO_PIN_SET);
			play_mode = 1;
		}
		button_count = 0;
	}
}

void HAL_SPI_RxCpltCallback(SPI_HandleTypeDef * hspi)
{/*
	// USB command: Type and command
	switch (spi3_buf[0] & 0b11000000) {
	case 0b00000000:  //Chain SPI functions
		switch (spi3_buf[0] & 0b00111000) {
		case 0b00000000: //Write content of full frame buffer to fram buffer (0)
			switch (spi3_buf[0] & 0b00000111) {
			case 0b00000000: //Command for DIP switch ID = 00
				if(BOARD_NUMBER==1)
				{
					HAL_SPI_Receive(&hspi3, (uint8_t*) frame_buf_0, 6400, 1000);
				}
				break;
			case 0b00000001: //Command for DIP switch ID = 01
				HAL_SPI_Receive(&hspi3, (uint8_t*) frame_buf_tmp, 6400, 1000);
				SPI_master2slave(&spi3_buf, &frame_buf_tmp);
				break;
			case 0b00000010: //Command for DIP switch ID = 10
				HAL_SPI_Receive(&hspi3, (uint8_t*) frame_buf_tmp, 6400, 1000);
				SPI_master2slave(&spi3_buf, &frame_buf_tmp);
				break;
			case 0b00000011: //Command for DIP switch ID = 11
				HAL_SPI_Receive(&hspi3, (uint8_t*) frame_buf_tmp, 6400, 1000);
				SPI_master2slave(&spi3_buf, &frame_buf_tmp);
				break;
			default: //Broadcast to every board
				HAL_SPI_Receive(&hspi3, (uint8_t*) frame_buf_0, 6400, 1000);
				SPI_master2slave(&spi3_buf, &frame_buf_0);
				break;
			}
			break;
		case 0b00001000: //Write content of full frame buffer to fram buffer (1)
			switch (spi3_buf[0] & 0b00000111) {
			case 0b00000000: //Command for DIP switch ID = 00
				if(BOARD_NUMBER==1)
				{
					HAL_SPI_Receive(&hspi3, (uint8_t*) frame_buf_1, 6400, 1000);
				}
				break;
			case 0b00000001: //Command for DIP switch ID = 01
				HAL_SPI_Receive(&hspi3, (uint8_t*) frame_buf_tmp, 6400, 1000);
				SPI_master2slave(&spi3_buf, &frame_buf_tmp);
				break;
			case 0b00000010: //Command for DIP switch ID = 10
				HAL_SPI_Receive(&hspi3, (uint8_t*) frame_buf_tmp, 6400, 1000);
				SPI_master2slave(&spi3_buf, &frame_buf_tmp);
				break;
			case 0b00000011: //Command for DIP switch ID = 11
				HAL_SPI_Receive(&hspi3, (uint8_t*) frame_buf_tmp, 6400, 1000);
				SPI_master2slave(&spi3_buf, &frame_buf_tmp);
				break;
			default: //Broadcast to every board
				HAL_SPI_Receive(&hspi3, (uint8_t*) frame_buf_1, 6400, 1000);
				SPI_master2slave(&spi3_buf, &frame_buf_1);
				break;
			}
			break;
		case 0b00010000: //Write Registers data
			HAL_SPI_Transmit(&hspi1, &spi3_buf[0], 1, 1000);
			HAL_SPI_Transmit(&hspi1, &spi3_buf[1], 1, 1000);
			Write_Registers_data();
			break;
		case 0b00011000: //Write partial content of frame buffer
			break;
		case 0b00100000: //Read content of full frame buffer to fram buffer (0)
			break;
		case 0b00101000: //Read content of full frame buffer to fram buffer (1)
			break;
		case 0b00110000: //Read Registers data
			break;
		case 0b00111000: //Read partial content of frame buffer
			break;
		}
		break;
	case 0b01000000:  //Master SPI functions
		switch (spi3_buf[0] & 0b00111000) {
		case 0b00000000: //Start SPI write data
			HAL_SPI_Receive(&hspi3, (uint8_t*) frame_buf_0, 6400, 1000);
			SPI_master2slave(&spi3_buf, &frame_buf_0);
			break;
		case 0b00001000: //Continuous write SPI data
			break;
		case 0b00010000: //End SPI write data
			break;
		case 0b00011000: //Start SPI Read data
			break;
		case 0b00100000: //Continuous Read SPI data
			break;
		case 0b00101000: //End SPI Read data
			break;
		}
		break;
	case 0b10000000:  //I2C command
		switch (spi3_buf[0] & 0b00111000) {
		case 0b00000000: //I2C Write Data
			break;
		case 0b00100000: //I2C Read Data
			break;
		}
		break;
	case 0b11000000:  //SPI flash function & Slave SPI
		switch (spi3_buf[0] & 0b00111000) {
		case 0b00000000: //Write data to SPI flash
			break;
		case 0b00001000: //Read data from SPI flash
			break;
		case 0b00100000: //Display Data by Slave SPI
			break;
		}
		break;
	}
	// USB command: ID
	switch (spi3_buf[0] & 0b00000111) {
	case 0b00000000:  //Command for DIP switch ID = 00
		break;
	case 0b00000001:  //Command for DIP switch ID = 01
		break;
	case 0b00000010:  //Command for DIP switch ID = 10
		break;
	case 0b00000011:  //Command for DIP switch ID = 11
		break;
	default:  //Broadcast to every board
		break;
	}*/
}

void QSPI_WriteByte(uint8_t data) {
    for (int i = 7; i >= 0; i--) {
        HAL_GPIO_WritePin(QSPI_MOSI_PORT, QSPI_MOSI_PIN, (data >> i) & 1);

        HAL_GPIO_WritePin(QSPI_CLK_PORT, QSPI_CLK_PIN, GPIO_PIN_SET);
        delay_us(1);
        HAL_GPIO_WritePin(QSPI_CLK_PORT, QSPI_CLK_PIN, GPIO_PIN_RESET);
        delay_us(1);
    }
}

uint8_t QSPI_ReadByte(void) {
    uint8_t data = 0;

    for (int i = 7; i >= 0; i--) {
        HAL_GPIO_WritePin(QSPI_CLK_PORT, QSPI_CLK_PIN, GPIO_PIN_SET);
        delay_us(1);
        data |= (HAL_GPIO_ReadPin(QSPI_MISO_PORT, QSPI_MISO_PIN) << i);
        HAL_GPIO_WritePin(QSPI_CLK_PORT, QSPI_CLK_PIN, GPIO_PIN_RESET);
        delay_us(1);
    }

    return data;
}

///////////////////////ble/////////////////////////
uint8_t ReadBuffer[4]={0}, RXBuffer[20]={0}, WrapRX[20]={0};
volatile uint8_t Write_flag, Read_flag, Wrap_error;
int16_t Rcount=0, Wcount=0;
void WriteBLE(char *str1, int16_t count) //Writes data bytes to BLE
{
	HAL_GPIO_WritePin(GPIOG, GPIO_PIN_12, GPIO_PIN_RESET); //Pull CS line low
	delay_us(100); //Required
	HAL_SPI_Transmit(&hspi3, str1, count, 1000);
	HAL_GPIO_WritePin(GPIOG, GPIO_PIN_12, GPIO_PIN_SET); //Pull CS line high
	HAL_Delay(6);
	HAL_GPIO_WritePin(GPIOG, GPIO_PIN_12, GPIO_PIN_RESET); //Pull CS line low
	delay_us(100); //100 us
	for (int i=0; i < 4; ++i)
	{
		HAL_SPI_TransmitReceive(&hspi3, 0xAA, &ReadBuffer[i], 1, 1000);
	}
	HAL_GPIO_WritePin(GPIOG, GPIO_PIN_12, GPIO_PIN_SET); //Pull CS line high
	if ((ReadBuffer[0] == 0x20)&&(ReadBuffer[1] == 0x01)) Write_flag = 0; //Looking for first two bytes
	else Write_flag = 1;
	if ((ReadBuffer[2] == 0x0A)&&(ReadBuffer[3] == 0x00)) Write_flag = 0; //Looking for last two bytes
	else Write_flag = 1;
}

void ReadBLE(void) //Reads BYTES from BLE
{
	uint8_t read[4] = {0x10,0x02,0x0A,0x00};
	HAL_GPIO_WritePin(GPIOG, GPIO_PIN_12, GPIO_PIN_RESET); //Pull CS line low
	delay_us(100); //Required delay after CS asserted
	HAL_SPI_Transmit(&hspi3, &read, 4, 1000);
	HAL_GPIO_WritePin(GPIOG, GPIO_PIN_12, GPIO_PIN_SET); //Pull CS line high
	HAL_Delay(6);
	HAL_GPIO_WritePin(GPIOG, GPIO_PIN_12, GPIO_PIN_RESET); //Pull CS line low
	delay_us(100);
	for (int i=0; i < 20; i++)
	{
		HAL_SPI_TransmitReceive(&hspi3, 0xAA, &RXBuffer[i], 1, 1000);
		if (i==1) //First two bytes have arrived
		{
			if ((RXBuffer[0]==0x20)&&(RXBuffer[1]==0x02)) ;
			else //Problem on BLE SPI
			{
				Read_flag=1;
				break;
			}
		}
		else if (i==3) //4th byte indicates size of data string
		{
			Rcount = (int16_t)RXBuffer[3]; //Number of data packets
			if (RXBuffer[3] == 0x00)
			{
				break;
			}
		}
		else if (i == (Rcount+3))
		{
			HAL_UART_Transmit(&huart4, &RXBuffer[4], Rcount, 1000);
			break; //Run loop until all bytes read
		}
		else ; //Should never get here
	}
	HAL_GPIO_WritePin(GPIOG, GPIO_PIN_12, GPIO_PIN_SET); //Pull CS line high
}

void Wrap(uint8_t *str1, int16_t count)
{
	HAL_GPIO_WritePin(GPIOG, GPIO_PIN_12, GPIO_PIN_RESET);  //Pull CS line low
	delay_us(100);
	HAL_SPI_Transmit(&hspi3, str1, count, 1000);
	HAL_GPIO_WritePin(GPIOG, GPIO_PIN_12, GPIO_PIN_SET); //Pull CS line high
	HAL_Delay(6);
	HAL_GPIO_WritePin(GPIOG, GPIO_PIN_12, GPIO_PIN_RESET);  //Re-assert CS line
	delay_us(100);
	for (int i=0; i < 20; i++)
	{
		HAL_SPI_TransmitReceive(&hspi3, 0xAA, &WrapRX[i], 1, 1000);
		if (i == 1) //First two bytes have arrived
		{
			if ((WrapRX[0] == 0x20)&&(WrapRX[1] == 0x00)) ;
			else //Problem on BLE SPI
			{
				Wrap_error = 1;
				//HAL_UART_Transmit(&huart4, "error", 5, 1000);
				break;
			}
		}
		else if (i==3) //This byte indicates size of payload
		{
			Wcount = (int16_t)WrapRX[3]; //Number of data packets
			if (WrapRX[3] == 0x00) break; //Empty payload
		}
		else if (i == (Wcount+3)) break; //Run loop until all bytes read
		else ;
	}
	HAL_GPIO_WritePin(GPIOG, GPIO_PIN_12, GPIO_PIN_SET); //Pull CS line high
}
///////////////////////ble/////////////////////////

/* USER CODE END 4 */

void Error_Handler(void)
{
	__disable_irq();
	while (1) {
	}
}
